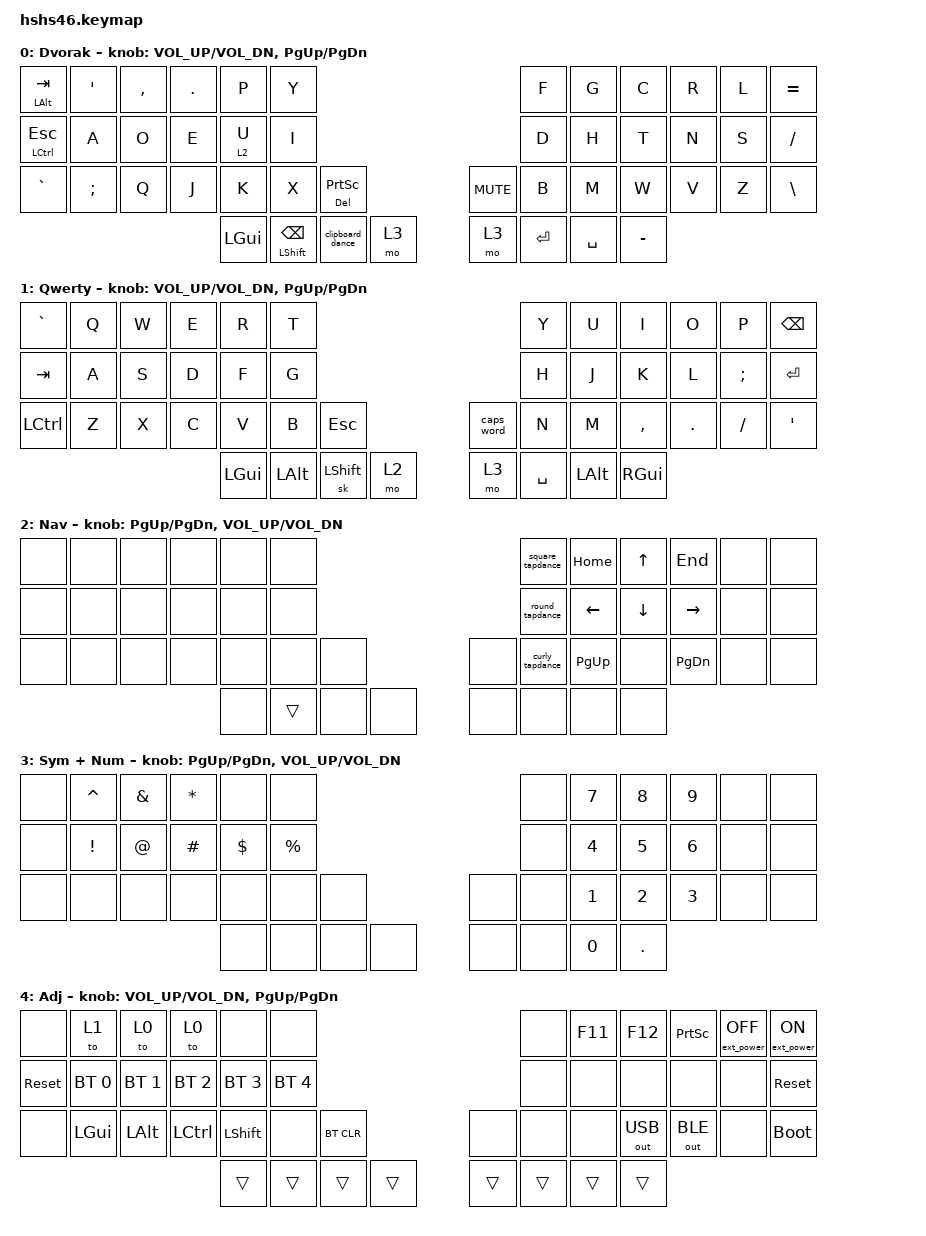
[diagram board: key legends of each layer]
/*
 * Copyright (c) 2021-2022 The ZMK Contributors
 *
 * SPDX-License-Identifier: MIT
 */

#include <behaviors.dtsi>
#include <dt-bindings/zmk/bt.h>
#include <dt-bindings/zmk/ext_power.h>
#include <dt-bindings/zmk/keys.h>
#include <dt-bindings/zmk/outputs.h>

#define DVORAK_L 0
#define QWERTY_L 1
#define COLEMK_L 2
#define NAV_L    3
#define SYM_L    4
#define ADJ_L    5
#define Undo   LC(Z)
#define Cut    LC(X)
#define Copy   LC(C)
#define Paste  LC(V)
#define Redo   LC(Y)

/ {
    behaviors {
        screenshot_delete: screenshot_delete {
            compatible = "zmk,behavior-hold-tap";
            label = "SCREENSHOT_DELETE";
            bindings = <&kp>, <&kp>;

            #binding-cells = <2>;
            tapping-term-ms = <150>;
        };

        copy_paste: copy_paste {
            compatible = "zmk,behavior-hold-tap";
            label = "COPY_PASTE";
            bindings = <&kp>, <&kp>;

            #binding-cells = <2>;
            tapping-term-ms = <150>;
            flavor = "balanced";
        };

        clipboard_dance: clipboard_dance {
            compatible = "zmk,behavior-tap-dance";
            label = "CLIPBOARD_DANCE";
            #binding-cells = <0>;
            bindings = <&copy_paste LC(V) LC(C)>, <&kp LC(X)>;
        };

        round_brackets: round_brackets {
            compatible = "zmk,behavior-hold-tap";
            label = "ROUND_BRACKETS";
            bindings = <&kp>, <&kp>;

            #binding-cells = <2>;
            tapping-term-ms = <110>;
            flavor = "balanced";
        };

        round_tapdance: round_tapdance {
            compatible = "zmk,behavior-tap-dance";
            label = "ROUND_TAPDANCE";
            #binding-cells = <0>;
            bindings =
                <&round_brackets RIGHT_PARENTHESIS LEFT_PARENTHESIS>,
                <&round_bracket_macro>;
        };

        square_brackets: square_brackets {
            compatible = "zmk,behavior-hold-tap";
            label = "SQUARE_BRACKETS";
            bindings = <&kp>, <&kp>;

            #binding-cells = <2>;
            tapping-term-ms = <110>;
            flavor = "balanced";
        };

        square_tapdance: square_tapdance {
            compatible = "zmk,behavior-tap-dance";
            label = "SQUARE_TAPDANCE";
            #binding-cells = <0>;
            bindings =
                <&square_brackets RIGHT_BRACKET LEFT_BRACKET>,
                <&square_bracket_macro>;
        };

        curly_brackets: curly_brackets {
            compatible = "zmk,behavior-hold-tap";
            label = "CURLY_BRACKETS";
            bindings = <&kp>, <&kp>;

            #binding-cells = <2>;
            tapping-term-ms = <110>;
            flavor = "balanced";
        };

        curly_tapdance: curly_tapdance {
            compatible = "zmk,behavior-tap-dance";
            label = "CURLY_TAPDANCE";
            #binding-cells = <0>;
            bindings =
                <&curly_brackets RIGHT_BRACE LEFT_BRACE>,
                <&curly_bracket_macro>;
        };
    };

    macros {
        round_bracket_macro: round_bracket_macro {
            compatible = "zmk,behavior-macro";
            #binding-cells = <0>;
            bindings = <&kp LEFT_PARENTHESIS &kp RIGHT_PARENTHESIS &kp LEFT>;
            label = "ROUND_BRACKET_MACRO";
        };

        square_bracket_macro: square_bracket_macro {
            compatible = "zmk,behavior-macro";
            #binding-cells = <0>;
            bindings = <&kp LEFT_BRACKET &kp RIGHT_BRACKET &kp LEFT>;
            label = "SQUARE_BRACKET_MACRO";
        };

        curly_bracket_macro: curly_bracket_macro {
            compatible = "zmk,behavior-macro";
            #binding-cells = <0>;
            bindings = <&kp LEFT_BRACE &kp RIGHT_BRACE &kp LEFT>;
            label = "CURLY_BRACKET_MACRO";
        };
    };

    combos {
        compatible = "zmk,combos";

        lock {
            bindings = <&kp LG(LA(L))>;
            key-positions = <41 42>;
            layers = <0>;
        };
    };

    keymap {
        compatible = "zmk,keymap";

        default_layer {
            /* DVORAK
 * -------------------------------------------------------------------------------------------------------------------------------------
 * | `     |   '   |   ,   |   .   |   P   |   Y   |-----------------------------------|   F   |   G   |   C   |   R   |   L   | BKSPC |
 * | TAB   |   A   |   O   |   E   |   U   |   I   |-----------------------------------|   D   |   H   |   T   |   N   |   S   | ENTER |
 * | CTRL  |   ;   |   Q   |   J   |   K   |   X   |  ESC  |-------------------| CAPS  |   B   |   M   |   W   |   V   |   Z   |   /   |
 *                                 |  GUI  |  ALT  |SK SHFT|  Nav  |---|  Sym  | SPACE |  ALT  |  GUI  |
 */

            bindings = <
&mt LEFT_ALT TAB  &kp SQT   &kp COMMA  &kp DOT  &kp P     &kp Y                                                                                   &kp F      &kp G      &kp C  &kp R  &kp L  &kp EQUAL
&mt LCTRL ESC     &kp A     &kp O      &kp E    &lt 2 U   &kp I                                                                                   &kp D      &kp H      &kp T  &kp N  &kp S  &kp SLASH
&kp GRAVE         &kp SEMI  &kp Q      &kp J    &kp K     &kp X                     &screenshot_delete DEL PRINTSCREEN                &kp C_MUTE  &kp B      &kp M      &kp W  &kp V  &kp Z  &kp BACKSLASH
                                                &kp LGUI  &mt LEFT_SHIFT BACKSPACE  &clipboard_dance                    &mo 3  &mo 3  &kp ENTER   &kp SPACE  &kp MINUS
            >;

            display-name = "Dvorak";
            sensor-bindings = <&inc_dec_kp C_VOL_UP C_VOL_DN &inc_dec_kp PG_UP PG_DN>;
        };

        qwerty_layer {
            /* QWERTY
 * -------------------------------------------------------------------------------------------------------------------------------------
 * | `     |   Q   |   W   |   E   |   R   |   T   |-----------------------------------|   Y   |   U   |   I   |   O   |   P   | BKSPC |
 * | TAB   |   A   |   S   |   D   |   F   |   G   |-----------------------------------|   H   |   J   |   K   |   L   |   ;   | ENTER |
 * | CTRL  |   Z   |   X   |   C   |   V   |   B   |  ESC  |-------------------|  CAPS |   N   |   M   |   ,   |   .   |   /   |   '   |
 *                                 |  GUI  |  ALT  |SK SHFT|  Nav  |---|  Sym  | SPACE |  ALT  |  GUI  |
 */

            bindings = <
&kp GRAVE  &kp Q  &kp W  &kp E  &kp R     &kp T                                           &kp Y     &kp U     &kp I      &kp O    &kp P      &kp BSPC
&kp TAB    &kp A  &kp S  &kp D  &kp F     &kp G                                           &kp H     &kp J     &kp K      &kp L    &kp SEMI   &kp ENTER
&kp LCTRL  &kp Z  &kp X  &kp C  &kp V     &kp B     &kp ESC                   &caps_word  &kp N     &kp M     &kp COMMA  &kp DOT  &kp SLASH  &kp SQT
                                &kp LGUI  &kp LALT  &sk LSHIFT  &mo 2  &mo 3  &kp SPACE   &kp LALT  &kp RGUI
            >;

            display-name = "Qwerty";
            sensor-bindings = <&inc_dec_kp C_VOL_UP C_VOL_DN &inc_dec_kp PG_UP PG_DN>;
        };

        nav_layer {
            /* NAV
 * -------------------------------------------------------------------------------------------------------------------------------------
 * | Copy  |   1   |   2   |   3   |   4   |   5   |-----------------------------------|   6   |   7   |   8   |   9   |   0   | BSPC  |
 * | Cut   |  GUI  |  Alt  | Ctrl  | Shift | Paste |-----------------------------------| PG UP |  Left |  Up   |  Down | Right | PG DN |
 * | Ctrl  |  F1   |  F2   |  F3   |  F4   |  F5   |  UnDo |-------------------| ReDo  |  F6   |  F7   |  F8   |  F9   |  F10  | Ctrl  |
 *                                 |       |       |       |       |---| ADJ_L |       |       |       |
 */

            bindings = <
&none  &none  &none  &none  &none  &none                               &square_tapdance  &kp HOME     &kp UP    &kp END        &none  &none
&none  &none  &none  &none  &none  &none                               &round_tapdance   &kp LEFT     &kp DOWN  &kp RIGHT      &none  &none
&none  &none  &none  &none  &none  &none   &none                &none  &curly_tapdance   &kp PAGE_UP  &none     &kp PAGE_DOWN  &none  &none
                            &none  &trans  &none  &none  &none  &none  &none             &none
            >;

            display-name = "Nav";
            sensor-bindings = <&inc_dec_kp PG_UP PG_DN &inc_dec_kp C_VOL_UP C_VOL_DN>;
        };

        sym_layer {
            /* SYM
 * -------------------------------------------------------------------------------------------------------------------------------------
 * | INS   |   !   |   @   |   #   |   $   |   %   |-----------------------------------|   ^   |   &   |   *   |   (   |   )   | BSPC  |
 * |       |   \   |   -   |   =   |   [   |   ]   |-----------------------------------| HOME  | Shift | Ctrl  | Alt   | Gui   | END   |
 * | Ctrl  |   |   |   _   |   +   |   {   |   }   |SkAltGr|-------------------| MENU  | Mute  | Vol-  | Vol+  | Play  |       | Ctrl  |
 *                                 |       |       |       |  ADJ_L |---|      |       |       |       |
 */

            bindings = <
&none  &kp CARET        &kp AMPERSAND  &kp ASTERISK  &none       &none                                    &none   &kp N7        &kp N8        &kp N9        &none  &none
&none  &kp EXCLAMATION  &kp AT_SIGN    &kp POUND     &kp DOLLAR  &kp PERCENT                              &none   &kp NUMBER_4  &kp N5        &kp NUMBER_6  &none  &none
&none  &none            &none          &none         &none       &none        &none                &none  &none   &kp NUMBER_1  &kp NUMBER_2  &kp NUMBER_3  &none  &none
                                                     &none       &none        &none  &none  &none  &none  &kp N0  &kp DOT
            >;

            display-name = "Sym + Num";
            sensor-bindings = <&inc_dec_kp PG_UP PG_DN &inc_dec_kp C_VOL_UP C_VOL_DN>;
        };

        adj_layer {
            /* ADJUST
 * -------------------------------------------------------------------------------------------------------------------------------------
 * |       | QWERTY| DVORAK| COLEMK|       |       |-----------------------------------|       |  F11  |  F12  |Prt Scr|EP_OFF | EP_ON |
 * | RESET | BT 0  | BT 1  | BT 2  | BT 3  | BT 4  |-----------------------------------|       |       |       |       |       | RESET |
 * |       | LGUI  | LALT  | LCTRL | LSHIFT|       |BT CLR |-------------------|       |       |       |OUT_USB|OUT_BLE|       | BOOTL |
 *                                 |       |       |       |       |---|       |       |       |       |
 */

            bindings = <
&none       &to 1         &to 0         &to 0         &none         &none                                             &none   &kp F11  &kp F12       &kp PRINTSCREEN  &ext_power EP_OFF  &ext_power EP_ON
&sys_reset  &bt BT_SEL 0  &bt BT_SEL 1  &bt BT_SEL 2  &bt BT_SEL 3  &bt BT_SEL 4                                      &none   &none    &none         &none            &none              &sys_reset
&none       &kp LGUI      &kp LALT      &kp LCTRL     &kp LSHIFT    &none         &bt BT_CLR                  &none   &none   &none    &out OUT_USB  &out OUT_BLE     &none              &bootloader
                                                      &trans        &trans        &trans      &trans  &trans  &trans  &trans  &trans
            >;

            display-name = "Adj";
            sensor-bindings = <&inc_dec_kp C_VOL_UP C_VOL_DN &inc_dec_kp PG_UP PG_DN>;
        };
    };
};
